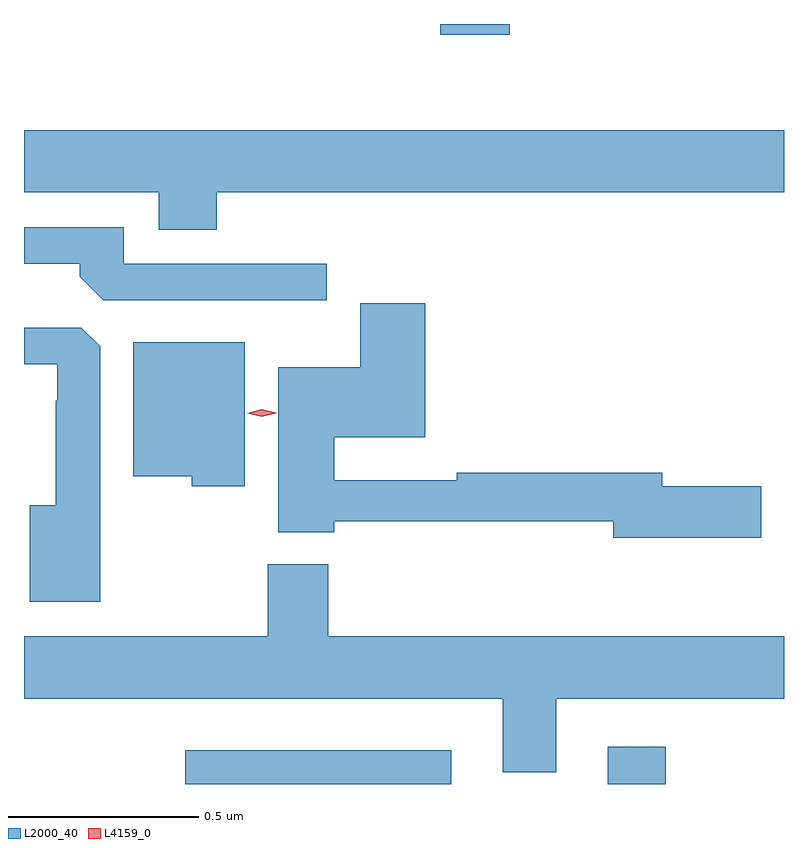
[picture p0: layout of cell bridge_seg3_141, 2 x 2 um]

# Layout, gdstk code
import gdstk
lib = gdstk.Library(unit=1e-6, precision=1e-09)
def R(c, l, rs):  # rectangles x0, y0, x1, y1
    for r in rs: c.add(gdstk.rectangle(r[:2], r[2:], *l))
def P(c, l, *ps):  # polygons
    for p in ps: c.add(gdstk.Polygon(p, *l))
L2000_40 = (2000, 40)
L4159_0 = (4159, 0)

bridge_seg3_141 = lib.new_cell('bridge_seg3_141')
R(bridge_seg3_141, L2000_40, [(322.281,676.715,322.981,676.804), (323.393,676.715,323.546,676.813), (322.952,678.687,323.135,678.715)])
P(bridge_seg3_141, L2000_40, [(322.364,678.272),(323.857,678.272),(323.857,678.436),(321.857,678.436),(321.857,678.272),(322.211,678.272),(322.211,678.173),(322.364,678.173)],
  [(322.654,678.084),(322.119,678.084),(322.119,678.18),(321.857,678.18),(321.857,678.084),(322.004,678.084),(322.004,678.05),(322.065,677.988),(322.654,677.988)],
  [(323.797,677.498),(323.536,677.498),(323.536,677.534),(322.996,677.534),(322.996,677.514),(322.673,677.514),(322.673,677.627),(322.913,677.627),(322.913,677.98),(322.742,677.98),(322.742,677.812),(322.526,677.812),(322.526,677.378),(322.673,677.378),(322.673,677.406),(323.408,677.406),(323.408,677.363),(323.797,677.363)],
  [(322.057,677.867),(322.008,677.916),(321.857,677.916),(321.857,677.82),(321.945,677.82),(321.945,677.723),(321.941,677.723),(321.941,677.449),(321.872,677.449),(321.872,677.195),(322.057,677.195)],
  [(322.438,677.878),(322.145,677.878),(322.145,677.525),(322.299,677.525),(322.299,677.498),(322.438,677.498)],
  [(323.257,676.94),(323.857,676.94),(323.857,677.104),(322.658,677.104),(322.658,677.293),(322.498,677.293),(322.498,677.104),(321.857,677.104),(321.857,676.94),(323.117,676.94),(323.117,676.746),(323.257,676.746)])
P(bridge_seg3_141, L4159_0, [(322.483,677.681),(322.445,677.691),(322.445,677.691),(322.445,677.691),(322.483,677.701),(322.521,677.692),(322.521,677.691),(322.521,677.691)])

lib.write_gds('bridge_seg3_141.gds')
